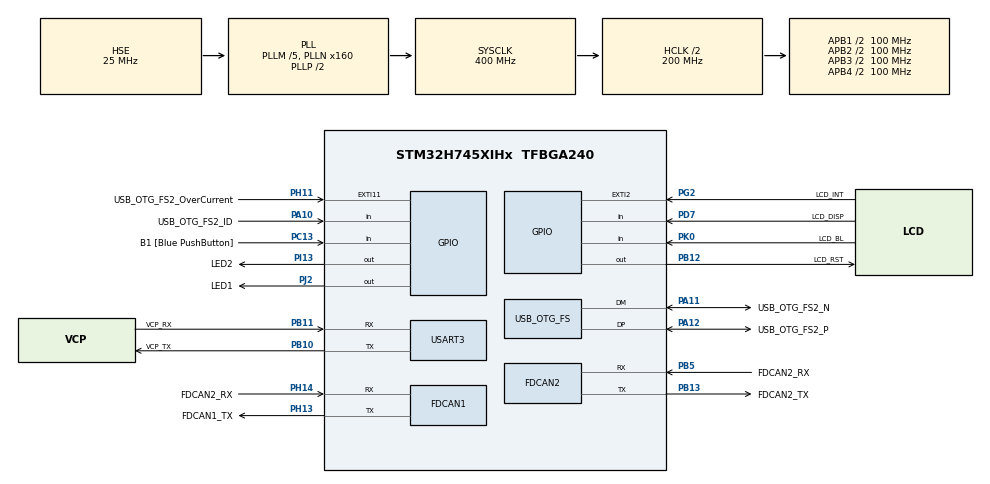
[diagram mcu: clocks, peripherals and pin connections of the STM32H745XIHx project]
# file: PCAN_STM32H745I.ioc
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CORTEX_M7.default_mode_Activation=1
CortexM4.IPs=FATFS_M4\:I,FREERTOS_M4\:I,IWDG2\:I,RCC,USB_DEVICE_M4\:I,USB_HOST_M4\:I,WWDG2\:I,DMA,BDMA,MDMA,NVIC2\:I,SAI4\:I,DEBUG,PDM2PCM_M4\:I,PWR,RESMGR_UTILITY,SYS_M4\:I,CORTEX_M4\:I,OPENAMP_M4\:I,VREFBUF,GPIO
CortexM7.IPs=FATFS_M7\:I,FREERTOS_M7\:I,IWDG1\:I,RCC\:I,USB_DEVICE_M7\:I,USB_HOST_M7\:I,WWDG1\:I,DMA\:I,BDMA\:I,MDMA\:I,NVIC1\:I,CORTEX_M7\:I,DEBUG\:I,PDM2PCM_M7\:I,PWR\:I,RESMGR_UTILITY\:I,SYS\:I,OPENAMP_M7\:I,VREFBUF\:I,GPIO\:I,FDCAN2\:I,FDCAN1\:I,USB_OTG_FS\:I,USB_OTG_FS1\:I,USART3\:I,TIM2\:I,MEMORYMAP\:I
CortexM7.Pins=PD7,PA10,PC13,PI13,PG2,PK0,PH11,PJ2,PB12
FDCAN1.AutoRetransmission=ENABLE
FDCAN1.CalculateBaudRateNominal=500000
FDCAN1.CalculateTimeBitNominal=2000
FDCAN1.CalculateTimeQuantumNominal=125.0
FDCAN1.DataPrescaler=2
FDCAN1.DataSyncJumpWidth=4
FDCAN1.DataTimeSeg1=15
FDCAN1.DataTimeSeg2=4
FDCAN1.ExtFiltersNbr=8
FDCAN1.FrameFormat=FDCAN_FRAME_FD_BRS
FDCAN1.NominalPrescaler=10
FDCAN1.NominalSyncJumpWidth=2
FDCAN1.NominalTimeSeg1=13
FDCAN1.NominalTimeSeg2=2
FDCAN1.RxFifo0ElmtSize=FDCAN_DATA_BYTES_64
FDCAN1.RxFifo0ElmtsNbr=32
FDCAN1.StdFiltersNbr=16
FDCAN1.TxElmtSize=FDCAN_DATA_BYTES_64
FDCAN1.TxFifoQueueElmtsNbr=32
FDCAN2.AutoRetransmission=ENABLE
FDCAN2.CalculateBaudRateNominal=500000
FDCAN2.CalculateTimeBitNominal=2000
FDCAN2.CalculateTimeQuantumNominal=125.0
FDCAN2.DataPrescaler=2
FDCAN2.DataTimeSeg1=15
FDCAN2.DataTimeSeg2=4
FDCAN2.ExtFiltersNbr=8
FDCAN2.FrameFormat=FDCAN_FRAME_FD_BRS
FDCAN2.MessageRAMOffset=1280
FDCAN2.NominalPrescaler=10
FDCAN2.NominalTimeSeg1=13
FDCAN2.NominalTimeSeg2=2
FDCAN2.RxFifo0ElmtSize=FDCAN_DATA_BYTES_64
FDCAN2.RxFifo0ElmtsNbr=32
FDCAN2.StdFiltersNbr=16
FDCAN2.TxElmtSize=FDCAN_DATA_BYTES_64
FDCAN2.TxFifoQueueElmtsNbr=32
Mcu.Family=STM32H7
Mcu.Name=STM32H745XIHx
Mcu.Package=TFBGA240
NVIC1.OTG_FS_IRQn=true\:0\:0\:false\:false\:true\:true\:true\:true
NVIC1.PriorityGroup=NVIC_PRIORITYGROUP_4
NVIC2.PriorityGroup=NVIC_PRIORITYGROUP_4
PA1.GPIO_Label=MII_RX_CLK
PA1.PinAttribute=CortexM4
PA1.Signal=ETH_RX_CLK
PA10.GPIO_Label=USB_OTG_FS2_ID
PA10.GPIO_PuPd=GPIO_NOPULL
PA10.PinAttribute=CortexM7
PA10.Signal=GPIO_Input
PA11.GPIO_Label=USB_OTG_FS2_N
PA11.GPIO_Speed=GPIO_SPEED_FREQ_VERY_HIGH
PA11.Mode=Device_Only
PA11.PinAttribute=CortexM7
PA11.Signal=USB_OTG_FS_DM
PA12.GPIO_Label=USB_OTG_FS2_P
PA12.GPIO_Speed=GPIO_SPEED_FREQ_VERY_HIGH
PA12.Mode=Device_Only
PA12.PinAttribute=CortexM7
PA12.Signal=USB_OTG_FS_DP
PA2.GPIO_Label=MII_MDIO
PA2.PinAttribute=CortexM4
PA2.Signal=ETH_MDIO
PA7.GPIO_Label=MII_RX_DV
PA7.PinAttribute=CortexM4
PA7.Signal=ETH_RX_DV
PA9.GPIO_Label=VBUS_FS2
PA9.PinAttribute=CortexM7
PA9.Signal=USB_OTG_FS_VBUS
PB0.GPIO_Label=MII_RXD2
PB0.PinAttribute=CortexM4
PB0.Signal=ETH_RXD2
PB1.GPIO_Label=MII_RXD3
PB1.PinAttribute=CortexM4
PB1.Signal=ETH_RXD3
PB10.GPIO_Label=VCP_TX
PB10.Mode=Asynchronous
PB10.PinAttribute=CortexM7
PB10.Signal=USART3_TX
PB11.GPIO_Label=VCP_RX
PB11.Mode=Asynchronous
PB11.PinAttribute=CortexM7
PB11.Signal=USART3_RX
PB12.GPIO_Label=LCD_RST
PB12.PinAttribute=CortexM7
PB12.Signal=GPIO_Output
PB13.GPIO_Label=FDCAN2_TX
PB13.GPIO_Speed=GPIO_SPEED_FREQ_VERY_HIGH
PB13.Mode=FDCAN_Activate
PB13.PinAttribute=CortexM7
PB13.Signal=FDCAN2_TX
PB5.GPIO_Label=FDCAN2_RX
PB5.GPIO_Speed=GPIO_SPEED_FREQ_VERY_HIGH
PB5.Mode=FDCAN_Activate
PB5.PinAttribute=CortexM7
PB5.Signal=FDCAN2_RX
PB6.PinAttribute=CortexM4
PB6.Signal=QUADSPI_BK1_NCS
PB8.GPIO_Label=SDIO1_D4
PB8.PinAttribute=CortexM4
PB8.Signal=SDMMC1_D4
PB9.GPIO_Label=SDIO1_D5
PB9.PinAttribute=CortexM4
PB9.Signal=SDMMC1_D5
PC1.GPIO_Label=MII_MDC
PC1.PinAttribute=CortexM4
PC1.Signal=ETH_MDC
PC10.GPIO_Label=SDIO1_D2
PC10.PinAttribute=CortexM4
PC10.Signal=SDMMC1_D2
PC11.GPIO_Label=SDIO1_D3
PC11.PinAttribute=CortexM4
PC11.Signal=SDMMC1_D3
PC12.GPIO_Label=SDIO1_CK
PC12.PinAttribute=CortexM4
PC12.Signal=SDMMC1_CK
PC13.GPIO_Label=B1 [Blue PushButton]
PC13.PinAttribute=CortexM7
PC13.Signal=GPIO_Input
PC14-OSC32_IN\ (OSC32_IN).GPIO_Label=OSC32_IN
PC14-OSC32_IN\ (OSC32_IN).Mode=LSE-External-Oscillator
PC14-OSC32_IN\ (OSC32_IN).PinAttribute=CortexM7
PC14-OSC32_IN\ (OSC32_IN).Signal=RCC_OSC32_IN
PC15-OSC32_OUT\ (OSC32_OUT).GPIO_Label=OSC32_OUT
PC15-OSC32_OUT\ (OSC32_OUT).Mode=LSE-External-Oscillator
PC15-OSC32_OUT\ (OSC32_OUT).PinAttribute=CortexM7
PC15-OSC32_OUT\ (OSC32_OUT).Signal=RCC_OSC32_OUT
PC2.GPIO_Label=MII_TXD2
PC2.PinAttribute=CortexM4
PC2.Signal=ETH_TXD2
PC3.GPIO_Label=MII_TX_CLK
PC3.PinAttribute=CortexM4
PC3.Signal=ETH_TX_CLK
PC4.GPIO_Label=MII_RXD0
PC4.PinAttribute=CortexM4
PC4.Signal=ETH_RXD0
PC5.GPIO_Label=MII_RXD1
PC5.PinAttribute=CortexM4
PC5.Signal=ETH_RXD1
PC6.GPIO_Label=SDIO1_D6
PC6.PinAttribute=CortexM4
PC6.Signal=SDMMC1_D6
PC7.GPIO_Label=SDIO1_D7
PC7.PinAttribute=CortexM4
PC7.Signal=SDMMC1_D7
PC8.GPIO_Label=SDIO1_D0
PC8.PinAttribute=CortexM4
PC8.Signal=SDMMC1_D0
PC9.GPIO_Label=SDIO1_D1
PC9.PinAttribute=CortexM4
PC9.Signal=SDMMC1_D1
PD0.PinAttribute=CortexM7
PD0.Signal=FMC_D2_DA2
PD1.PinAttribute=CortexM7
PD1.Signal=FMC_D3_DA3
PD10.PinAttribute=CortexM7
PD10.Signal=FMC_D15_DA15
PD11.PinAttribute=CortexM4
PD11.Signal=QUADSPI_BK1_IO0
PD14.PinAttribute=CortexM7
PD14.Signal=FMC_D0_DA0
PD15.PinAttribute=CortexM7
PD15.Signal=FMC_D1_DA1
PD2.GPIO_Label=SDIO1_CMD
PD2.PinAttribute=CortexM4
PD2.Signal=SDMMC1_CMD
PD7.GPIO_Label=LCD_DISP
PD7.PinAttribute=CortexM7
PD7.Signal=GPIO_Input
PD8.PinAttribute=CortexM7
PD8.Signal=FMC_D13_DA13
PD9.PinAttribute=CortexM7
PD9.Signal=FMC_D14_DA14
PE0.PinAttribute=CortexM7
PE0.Signal=FMC_NBL0
PE1.PinAttribute=CortexM7
PE1.Signal=FMC_NBL1
PE10.PinAttribute=CortexM7
PE10.Signal=FMC_D7_DA7
PE11.PinAttribute=CortexM7
PE11.Signal=FMC_D8_DA8
PE12.PinAttribute=CortexM7
PE12.Signal=FMC_D9_DA9
PE13.PinAttribute=CortexM7
PE13.Signal=FMC_D10_DA10
PE14.PinAttribute=CortexM7
PE14.Signal=FMC_D11_DA11
PE15.PinAttribute=CortexM7
PE15.Signal=FMC_D12_DA12
PE2.GPIO_Label=MII_TXD3
PE2.PinAttribute=CortexM4
PE2.Signal=ETH_TXD3
PE4.PinAttribute=CortexM4
PE4.Signal=SAI4_D2
PE5.PinAttribute=CortexM4
PE5.Signal=SAI4_CK2
PE7.PinAttribute=CortexM7
PE7.Signal=FMC_D4_DA4
PE8.PinAttribute=CortexM7
PE8.Signal=FMC_D5_DA5
PE9.PinAttribute=CortexM7
PE9.Signal=FMC_D6_DA6
PF0.PinAttribute=CortexM7
PF0.Signal=FMC_A0
PF1.PinAttribute=CortexM7
PF1.Signal=FMC_A1
PF10.PinAttribute=CortexM4
PF10.Signal=QUADSPI_CLK
PF11.PinAttribute=CortexM7
PF11.Signal=FMC_SDNRAS
PF12.PinAttribute=CortexM7
PF12.Signal=FMC_A6
PF13.PinAttribute=CortexM7
PF13.Signal=FMC_A7
PF14.PinAttribute=CortexM7
PF14.Signal=FMC_A8
PF15.PinAttribute=CortexM7
PF15.Signal=FMC_A9
PF2.PinAttribute=CortexM7
PF2.Signal=FMC_A2
PF3.PinAttribute=CortexM7
PF3.Signal=FMC_A3
PF4.PinAttribute=CortexM7
PF4.Signal=FMC_A4
PF5.PinAttribute=CortexM7
PF5.Signal=FMC_A5
PF6.PinAttribute=CortexM4
PF6.Signal=QUADSPI_BK1_IO3
PF7.PinAttribute=CortexM4
PF7.Signal=QUADSPI_BK1_IO2
PF9.PinAttribute=CortexM4
PF9.Signal=QUADSPI_BK1_IO1
PG0.PinAttribute=CortexM7
PG0.Signal=FMC_A10
PG1.PinAttribute=CortexM7
PG1.Signal=FMC_A11
PG10.PinAttribute=CortexM4
PG10.Signal=SAI2_SD_B
PG11.GPIO_Label=MII_TX_EN
PG11.PinAttribute=CortexM4
PG11.Signal=ETH_TX_EN
PG12.GPIO_Label=MII_TXD1
PG12.PinAttribute=CortexM4
PG12.Signal=ETH_TXD1
PG13.GPIO_Label=MII_TXD0
PG13.PinAttribute=CortexM4
PG13.Signal=ETH_TXD0
PG15.PinAttribute=CortexM7
PG15.Signal=FMC_SDNCAS
PG2.GPIO_Label=LCD_INT
PG2.PinAttribute=CortexM7
PG2.Signal=GPXTI2
PG4.PinAttribute=CortexM7
PG4.Signal=FMC_A14_BA0
PG5.PinAttribute=CortexM7
PG5.Signal=FMC_A15_BA1
PG8.PinAttribute=CortexM7
PG8.Signal=FMC_SDCLK
PH0-OSC_IN\ (PH0).GPIO_Label=OSC_IN
PH0-OSC_IN\ (PH0).Mode=HSE-External-Oscillator
PH0-OSC_IN\ (PH0).PinAttribute=CortexM7
PH0-OSC_IN\ (PH0).Signal=RCC_OSC_IN
PH1-OSC_OUT\ (PH1).GPIO_Label=OSC_OUT
PH1-OSC_OUT\ (PH1).Mode=HSE-External-Oscillator
PH1-OSC_OUT\ (PH1).PinAttribute=CortexM7
PH1-OSC_OUT\ (PH1).Signal=RCC_OSC_OUT
PH11.GPIO_Label=USB_OTG_FS2_OverCurrent
PH11.PinAttribute=CortexM7
PH11.Signal=GPXTI11
PH13.GPIO_Label=FDCAN1_TX
PH13.GPIO_Speed=GPIO_SPEED_FREQ_VERY_HIGH
PH13.Mode=FDCAN_Activate
PH13.PinAttribute=CortexM7
PH13.Signal=FDCAN1_TX
PH14.GPIO_Label=FDCAN2_RX
PH14.GPIO_Speed=GPIO_SPEED_FREQ_VERY_HIGH
PH14.Mode=FDCAN_Activate
PH14.PinAttribute=CortexM7
PH14.Signal=FDCAN1_RX
PH2.GPIO_Label=MII_CRS
PH2.PinAttribute=CortexM4
PH2.Signal=ETH_CRS
PH3.GPIO_Label=MII_COL
PH3.PinAttribute=CortexM4
PH3.Signal=ETH_COL
PH5.PinAttribute=CortexM7
PH5.Signal=FMC_SDNWE
PH6.PinAttribute=CortexM7
PH6.Signal=FMC_SDNE1
PH7.PinAttribute=CortexM7
PH7.Signal=FMC_SDCKE1
PH9.PinAttribute=CortexM4
PH9.Signal=LTDC_R3
PI0.PinAttribute=CortexM4
PI0.Signal=LTDC_G5
PI1.PinAttribute=CortexM4
PI1.Signal=LTDC_G6
PI10.GPIO_Label=MII_RX_ER
PI10.PinAttribute=CortexM4
PI10.Signal=ETH_RX_ER
PI12.PinAttribute=CortexM4
PI12.Signal=LTDC_HSYNC
PI13.GPIO_Label=LED2
PI13.GPIO_ModeDefaultOutputPP=GPIO_MODE_OUTPUT_PP
PI13.GPIO_PuPd=GPIO_PULLUP
PI13.GPIO_Speed=GPIO_SPEED_FREQ_VERY_HIGH
PI13.PinAttribute=CortexM7
PI13.PinState=GPIO_PIN_SET
PI13.Signal=GPIO_Output
PI14.PinAttribute=CortexM4
PI14.Signal=LTDC_CLK
PI15.PinAttribute=CortexM4
PI15.Signal=LTDC_R0
PI4.PinAttribute=CortexM4
PI4.Signal=SAI2_MCLK_A
PI5.PinAttribute=CortexM4
PI5.Signal=SAI2_SCK_A
PI6.PinAttribute=CortexM4
PI6.Signal=SAI2_SD_A
PI7.PinAttribute=CortexM4
PI7.Signal=SAI2_FS_A
PI9.PinAttribute=CortexM4
PI9.Signal=LTDC_VSYNC
PJ0.PinAttribute=CortexM4
PJ0.Signal=LTDC_R1
PJ1.PinAttribute=CortexM4
PJ1.Signal=LTDC_R2
PJ10.PinAttribute=CortexM4
PJ10.Signal=LTDC_G3
PJ11.PinAttribute=CortexM4
PJ11.Signal=LTDC_G4
PJ12.PinAttribute=CortexM4
PJ12.Signal=LTDC_B0
PJ13.PinAttribute=CortexM4
PJ13.Signal=LTDC_B1
PJ14.PinAttribute=CortexM4
PJ14.Signal=LTDC_B2
PJ15.GPIO_Label=LCD_DISP
PJ15.PinAttribute=CortexM4
PJ15.Signal=LTDC_B3
PJ2.GPIO_Label=LED1
PJ2.GPIO_PuPd=GPIO_PULLUP
PJ2.GPIO_Speed=GPIO_SPEED_FREQ_VERY_HIGH
PJ2.PinAttribute=CortexM7
PJ2.PinState=GPIO_PIN_SET
PJ2.Signal=GPIO_Output
PJ3.PinAttribute=CortexM4
PJ3.Signal=LTDC_R4
PJ4.PinAttribute=CortexM4
PJ4.Signal=LTDC_R5
PJ5.PinAttribute=CortexM4
PJ5.Signal=LTDC_R6
PJ6.PinAttribute=CortexM4
PJ6.Signal=LTDC_R7
PJ7.PinAttribute=CortexM4
PJ7.Signal=LTDC_G0
PJ8.PinAttribute=CortexM4
PJ8.Signal=LTDC_G1
PJ9.PinAttribute=CortexM4
PJ9.Signal=LTDC_G2
PK0.GPIO_Label=LCD_BL
PK0.PinAttribute=CortexM7
PK0.Signal=GPIO_Input
PK2.PinAttribute=CortexM4
PK2.Signal=LTDC_G7
PK3.PinAttribute=CortexM4
PK3.Signal=LTDC_B4
PK4.PinAttribute=CortexM4
PK4.Signal=LTDC_B5
PK5.PinAttribute=CortexM4
PK5.Signal=LTDC_B6
PK6.PinAttribute=CortexM4
PK6.Signal=LTDC_B7
PK7.PinAttribute=CortexM4
PK7.Signal=LTDC_DE
ProjectManager.HeapSize=M4-0x200,M7-0x1000
ProjectManager.StackSize=M4-0x400,M7-0x2000
ProjectManager.TargetToolchain=MDK-ARM V5.32
RCC.ADCFreq_Value=50390625
RCC.APB1Freq_Value=100000000
RCC.APB2Freq_Value=100000000
RCC.APB3Freq_Value=100000000
RCC.APB4Freq_Value=100000000
RCC.CortexFreq_Value=400000000
RCC.D1PPRE=RCC_APB3_DIV2
RCC.D2PPRE1=RCC_APB1_DIV2
RCC.D2PPRE2=RCC_APB2_DIV2
RCC.D3PPRE=RCC_APB4_DIV2
RCC.DIVM1=5
RCC.DIVM3=5
RCC.DIVN1=160
RCC.DIVN3=96
RCC.DIVQ1=10
RCC.DIVQ3=10
RCC.DIVR1=4
RCC.DIVR3=10
RCC.HCLKFreq_Value=200000000
RCC.HPRE=RCC_HCLK_DIV2
RCC.PLL2FRACN=0
RCC.PLL3FRACN=0
RCC.PLLFRACN=0
RCC.PLLSourceVirtual=RCC_PLLSOURCE_HSE
RCC.PWR_Regulator_Voltage_Scale=PWR_REGULATOR_VOLTAGE_SCALE1
RCC.SYSCLKFreq_VALUE=400000000
RCC.SYSCLKSource=RCC_SYSCLKSOURCE_PLLCLK
RCC.SupplySource=PWR_DIRECT_SMPS_SUPPLY
RCC.USBCLockSelection=RCC_USBCLKSOURCE_PLL3
RCC.USBFreq_Value=48000000
SH.FMC_A0.0=FMC_A0
SH.FMC_A1.0=FMC_A1
SH.FMC_A10.0=FMC_A10
SH.FMC_A11.0=FMC_A11
SH.FMC_A14_BA0.0=FMC_BA0
SH.FMC_A15_BA1.0=FMC_BA1
SH.FMC_A2.0=FMC_A2
SH.FMC_A3.0=FMC_A3
SH.FMC_A4.0=FMC_A4
SH.FMC_A5.0=FMC_A5
SH.FMC_A6.0=FMC_A6
SH.FMC_A7.0=FMC_A7
SH.FMC_A8.0=FMC_A8
SH.FMC_A9.0=FMC_A9
SH.FMC_D0_DA0.0=FMC_D0
SH.FMC_D10_DA10.0=FMC_D10
SH.FMC_D11_DA11.0=FMC_D11
SH.FMC_D12_DA12.0=FMC_D12
SH.FMC_D13_DA13.0=FMC_D13
SH.FMC_D14_DA14.0=FMC_D14
SH.FMC_D15_DA15.0=FMC_D15
SH.FMC_D1_DA1.0=FMC_D1
SH.FMC_D2_DA2.0=FMC_D2
SH.FMC_D3_DA3.0=FMC_D3
SH.FMC_D4_DA4.0=FMC_D4
SH.FMC_D5_DA5.0=FMC_D5
SH.FMC_D6_DA6.0=FMC_D6
SH.FMC_D7_DA7.0=FMC_D7
SH.FMC_D8_DA8.0=FMC_D8
SH.FMC_D9_DA9.0=FMC_D9
SH.FMC_NBL0.0=FMC_NBL0
SH.FMC_NBL1.0=FMC_NBL1
SH.FMC_SDCLK.0=FMC_SDCLK
SH.FMC_SDNCAS.0=FMC_SDNCAS
SH.FMC_SDNRAS.0=FMC_SDNRAS
SH.FMC_SDNWE.0=FMC_SDNWE
TIM2.Prescaler=200-1
USART3.VirtualMode-Asynchronous=VM_ASYNC
USB_DEVICE_M7.CLASS_NAME_FS=CUSTOM_HID
USB_DEVICE_M7.USBD_LPM_ENABLED-CUSTOM_HID_FS=0
USB_DEVICE_M7.USBD_MAX_NUM_INTERFACES-CUSTOM_HID_FS=2
USB_DEVICE_M7.USBD_SELF_POWERED-CUSTOM_HID_FS=0
USB_DEVICE_M7.VirtualMode-CUSTOM_HID_FS=CustomHid
USB_DEVICE_M7.VirtualModeFS=Custom_Hid_FS
USB_OTG_FS.VirtualMode=Device_Only
VP_MEMORYMAP_VS_MEMORYMAP.Mode=CurAppReg
VP_SYS_M4_VS_Systick.Mode=SysTick
VP_TIM2_VS_ClockSourceINT.Mode=Internal
VP_USB_DEVICE_M7_VS_USB_DEVICE_CUSTOM_HID_FS.Mode=CUSTOM_HID_FS
board=STM32H745I-DISCO

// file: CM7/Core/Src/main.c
/* USER CODE BEGIN Header */
/**
  ******************************************************************************
  * @file           : main.c
  * @brief          : Main program body
  ******************************************************************************
  * @attention
  *
  * Copyright (c) 2026 STMicroelectronics.
  * All rights reserved.
  *
  * This software is licensed under terms that can be found in the LICENSE file
  * in the root directory of this software component.
  * If no LICENSE file comes with this software, it is provided AS-IS.
  *
  ******************************************************************************
  */
/* USER CODE END Header */
#include "main.h"
#include "fdcan.h"
#include "tim.h"
#include "usart.h"
#include "gpio.h"

/* USER CODE BEGIN Includes */
#include "can_node_config.h"
#include "can_node_app.h"
#if CAN_NODE_SINGLE_BOARD
#include "pcanpro_timestamp.h"
#include "pcanpro_led.h"
#include "pcanpro_can.h"
#include "pcanpro_protocol.h"
#include "pcan_usb_device.h"
#endif
/* USER CODE END Includes */

/* USER CODE BEGIN PD */

/* DUAL_CORE_BOOT_SYNC_SEQUENCE: Define for dual core boot synchronization    */
/*                             demonstration code based on hardware semaphore */
/* This define is present in both CM7/CM4 projects                            */
/* To comment when developping/debugging on a single core                     */
#define DUAL_CORE_BOOT_SYNC_SEQUENCE

#if defined(DUAL_CORE_BOOT_SYNC_SEQUENCE)
#ifndef HSEM_ID_0
#define HSEM_ID_0 (0U) /* HW semaphore 0*/
#endif
#endif /* DUAL_CORE_BOOT_SYNC_SEQUENCE */

/* USER CODE END PD */

void SystemClock_Config(void);
static void MPU_Config(void);

int main(void)
{

/* USER CODE BEGIN Boot_Mode_Sequence_0 */
#if defined(DUAL_CORE_BOOT_SYNC_SEQUENCE)
  int32_t timeout;
#endif /* DUAL_CORE_BOOT_SYNC_SEQUENCE */
/* USER CODE END Boot_Mode_Sequence_0 */

  /* MPU Configuration--------------------------------------------------------*/
  MPU_Config();

/* USER CODE BEGIN Boot_Mode_Sequence_1 */
#if defined(DUAL_CORE_BOOT_SYNC_SEQUENCE)
  /* Wait until CPU2 boots and enters in stop mode or timeout*/
  timeout = 0xFFFF;
  while((__HAL_RCC_GET_FLAG(RCC_FLAG_D2CKRDY) != RESET) && (timeout-- > 0));
  if ( timeout < 0 )
  {
  Error_Handler();
  }
#endif /* DUAL_CORE_BOOT_SYNC_SEQUENCE */
/* USER CODE END Boot_Mode_Sequence_1 */
  /* MCU Configuration--------------------------------------------------------*/

  /* Reset of all peripherals, Initializes the Flash interface and the Systick. */
  HAL_Init();

  /* Configure the system clock */
  SystemClock_Config();
/* USER CODE BEGIN Boot_Mode_Sequence_2 */
#if defined(DUAL_CORE_BOOT_SYNC_SEQUENCE)
/* When system initialization is finished, Cortex-M7 will release Cortex-M4 by means of
HSEM notification */
/*HW semaphore Clock enable*/
__HAL_RCC_HSEM_CLK_ENABLE();
/*Take HSEM */
HAL_HSEM_FastTake(HSEM_ID_0);
/*Release HSEM in order to notify the CPU2(CM4)*/
HAL_HSEM_Release(HSEM_ID_0,0);
/* wait until CPU2 wakes up from stop mode */
timeout = 0xFFFF;
while((__HAL_RCC_GET_FLAG(RCC_FLAG_D2CKRDY) == RESET) && (timeout-- > 0));
if ( timeout < 0 )
{
Error_Handler();
}
#endif /* DUAL_CORE_BOOT_SYNC_SEQUENCE */
/* USER CODE END Boot_Mode_Sequence_2 */

  /* Initialize all configured peripherals */
  MX_GPIO_Init();
  MX_FDCAN1_Init();
  MX_FDCAN2_Init();
  MX_USART3_UART_Init();
  MX_TIM2_Init();
  /* USER CODE BEGIN 2 */
#if CAN_NODE_SINGLE_BOARD
  pcan_timestamp_init();
  pcan_led_init();
  pcan_led_set_mode(LED_STAT, LED_MODE_BLINK_FAST, 0xFFFFFFFFu);
  pcan_protocol_init();
  pcan_usb_device_init();
#endif
  can_node_app_init();
  /* USER CODE END 2 */

  /* Infinite loop */
  while (1)
  {

    /* USER CODE BEGIN 3 */
#if CAN_NODE_SINGLE_BOARD
    pcan_usb_device_poll();
    pcan_can_poll();
    pcan_protocol_poll();
    pcan_led_poll();
#endif
    can_node_app_poll();
  }
  /* USER CODE END 3 */
}

void SystemClock_Config(void)
{
  RCC_OscInitTypeDef RCC_OscInitStruct = {0};
  RCC_ClkInitTypeDef RCC_ClkInitStruct = {0};

  /** Supply configuration update enable
  */
  HAL_PWREx_ConfigSupply(PWR_DIRECT_SMPS_SUPPLY);

  /** Configure the main internal regulator output voltage
  */
  __HAL_PWR_VOLTAGESCALING_CONFIG(PWR_REGULATOR_VOLTAGE_SCALE1);

  while(!__HAL_PWR_GET_FLAG(PWR_FLAG_VOSRDY)) {}

  /** Initializes the RCC Oscillators according to the specified parameters
  * in the RCC_OscInitTypeDef structure.
  */
  RCC_OscInitStruct.OscillatorType = RCC_OSCILLATORTYPE_HSE;
  RCC_OscInitStruct.HSEState = RCC_HSE_ON;
  RCC_OscInitStruct.PLL.PLLState = RCC_PLL_ON;
  RCC_OscInitStruct.PLL.PLLSource = RCC_PLLSOURCE_HSE;
  RCC_OscInitStruct.PLL.PLLM = 5;
  RCC_OscInitStruct.PLL.PLLN = 160;
  RCC_OscInitStruct.PLL.PLLP = 2;
  RCC_OscInitStruct.PLL.PLLQ = 10;
  RCC_OscInitStruct.PLL.PLLR = 4;
  RCC_OscInitStruct.PLL.PLLRGE = RCC_PLL1VCIRANGE_2;
  RCC_OscInitStruct.PLL.PLLVCOSEL = RCC_PLL1VCOWIDE;
  RCC_OscInitStruct.PLL.PLLFRACN = 0;
  if (HAL_RCC_OscConfig(&RCC_OscInitStruct) != HAL_OK)
  {
    Error_Handler();
  }

  /** Initializes the CPU, AHB and APB buses clocks
  */
  RCC_ClkInitStruct.ClockType = RCC_CLOCKTYPE_HCLK|RCC_CLOCKTYPE_SYSCLK
                              |RCC_CLOCKTYPE_PCLK1|RCC_CLOCKTYPE_PCLK2
                              |RCC_CLOCKTYPE_D3PCLK1|RCC_CLOCKTYPE_D1PCLK1;
  RCC_ClkInitStruct.SYSCLKSource = RCC_SYSCLKSOURCE_PLLCLK;
  RCC_ClkInitStruct.SYSCLKDivider = RCC_SYSCLK_DIV1;
  RCC_ClkInitStruct.AHBCLKDivider = RCC_HCLK_DIV2;
  RCC_ClkInitStruct.APB3CLKDivider = RCC_APB3_DIV2;
  RCC_ClkInitStruct.APB1CLKDivider = RCC_APB1_DIV2;
  RCC_ClkInitStruct.APB2CLKDivider = RCC_APB2_DIV2;
  RCC_ClkInitStruct.APB4CLKDivider = RCC_APB4_DIV2;

  if (HAL_RCC_ClockConfig(&RCC_ClkInitStruct, FLASH_LATENCY_2) != HAL_OK)
  {
    Error_Handler();
  }
}

 /* MPU Configuration */

void MPU_Config(void)
{
  MPU_Region_InitTypeDef MPU_InitStruct = {0};

  /* Disables the MPU */
  HAL_MPU_Disable();

  /** Initializes and configures the Region and the memory to be protected
  */
  MPU_InitStruct.Enable = MPU_REGION_ENABLE;
  MPU_InitStruct.Number = MPU_REGION_NUMBER0;
  MPU_InitStruct.BaseAddress = 0x0;
  MPU_InitStruct.Size = MPU_REGION_SIZE_4GB;
  MPU_InitStruct.SubRegionDisable = 0x87;
  MPU_InitStruct.TypeExtField = MPU_TEX_LEVEL0;
  MPU_InitStruct.AccessPermission = MPU_REGION_NO_ACCESS;
  MPU_InitStruct.DisableExec = MPU_INSTRUCTION_ACCESS_DISABLE;
  MPU_InitStruct.IsShareable = MPU_ACCESS_SHAREABLE;
  MPU_InitStruct.IsCacheable = MPU_ACCESS_NOT_CACHEABLE;
  MPU_InitStruct.IsBufferable = MPU_ACCESS_NOT_BUFFERABLE;

  HAL_MPU_ConfigRegion(&MPU_InitStruct);
  /* Enables the MPU */
  HAL_MPU_Enable(MPU_PRIVILEGED_DEFAULT);

}

void Error_Handler(void)
{
  __disable_irq();
  while (1)
  {
  }
}
